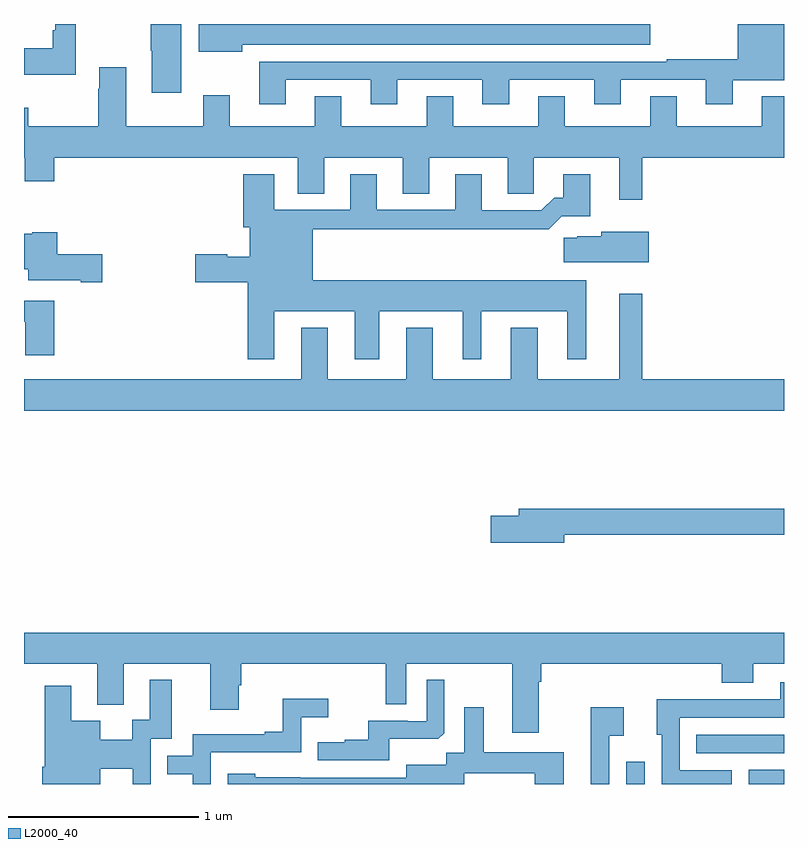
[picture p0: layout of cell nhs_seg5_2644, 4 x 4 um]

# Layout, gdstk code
import gdstk
lib = gdstk.Library(unit=1e-6, precision=1e-09)
def R(c, l, rs):  # rectangles x0, y0, x1, y1
    for r in rs: c.add(gdstk.rectangle(r[:2], r[2:], *l))
def P(c, l, *ps):  # polygons
    for p in ps: c.add(gdstk.Polygon(p, *l))
L2000_40 = (2000, 40)

nhs_seg5_2644 = lib.new_cell('nhs_seg5_2644')
R(nhs_seg5_2644, L2000_40, [(268.17,850.799,268.266,850.915), (268.814,850.799,269,850.873), (268.537,850.962,269,851.058)])
P(nhs_seg5_2644, L2000_40, [(265.273,854.799),(265.164,854.799),(265.164,854.767),(265.152,854.767),(265.152,854.671),(265,854.671),(265,854.531),(265.273,854.531)],
  [(266.149,854.69),(268.297,854.69),(268.297,854.799),(265.92,854.799),(265.92,854.654),(266.149,854.654)],
  [(265.828,854.799),(265.666,854.799),(265.666,854.659),(265.673,854.659),(265.673,854.436),(265.828,854.436)],
  [(266.377,854.505),(266.825,854.505),(266.825,854.376),(266.965,854.376),(266.965,854.505),(267.413,854.505),(267.413,854.376),(267.553,854.376),(267.553,854.505),(268.001,854.505),(268.001,854.376),(268.141,854.376),(268.141,854.505),(268.589,854.505),(268.589,854.376),(268.729,854.376),(268.729,854.504),(269,854.504),(269,854.799),(268.757,854.799),(268.757,854.614),(268.384,854.614),(268.384,854.601),(266.237,854.601),(266.237,854.376),(266.377,854.376)],
  [(266.531,854.26),(266.083,854.26),(266.083,854.425),(265.943,854.425),(265.943,854.26),(265.537,854.26),(265.537,854.572),(265.397,854.572),(265.397,854.459),(265.39,854.459),(265.39,854.26),(265.023,854.26),(265.023,854.359),(265,854.359),(265,854.096),(265.003,854.096),(265.003,853.972),(265.16,853.972),(265.16,854.096),(266.441,854.096),(266.441,853.906),(266.581,853.906),(266.581,854.096),(266.993,854.096),(266.993,853.906),(267.133,853.906),(267.133,854.096),(267.545,854.096),(267.545,853.906),(267.684,853.906),(267.684,854.096),(268.133,854.096),(268.133,853.875),(268.255,853.875),(268.255,854.096),(269,854.096),(269,854.419),(268.883,854.419),(268.883,854.26),(268.435,854.26),(268.435,854.42),(268.295,854.42),(268.295,854.26),(267.847,854.26),(267.847,854.42),(267.707,854.42),(267.707,854.26),(267.259,854.26),(267.259,854.42),(267.119,854.42),(267.119,854.26),(266.671,854.26),(266.671,854.42),(266.531,854.42)],
  [(266.317,853.286),(266.741,853.286),(266.741,853.035),(266.869,853.035),(266.869,853.286),(267.308,853.286),(267.308,853.035),(267.406,853.035),(267.406,853.286),(267.86,853.286),(267.86,853.035),(267.958,853.035),(267.958,853.45),(266.521,853.45),(266.521,853.72),(267.505,853.72),(267.505,853.718),(267.761,853.718),(267.831,853.788),(267.979,853.788),(267.979,854.008),(267.839,854.008),(267.839,853.885),(267.79,853.885),(267.723,853.818),(267.409,853.818),(267.409,854.008),(267.269,854.008),(267.269,853.821),(266.857,853.821),(266.857,854.008),(266.717,854.008),(266.717,853.821),(266.317,853.821),(266.317,854.008),(266.153,854.008),(266.153,853.728),(266.189,853.728),(266.189,853.573),(266.069,853.573),(266.069,853.586),(265.902,853.586),(265.902,853.439),(266.177,853.439),(266.177,853.035),(266.317,853.035)],
  [(268.288,853.705),(268.038,853.705),(268.038,853.681),(267.912,853.681),(267.912,853.673),(267.84,853.673),(267.84,853.544),(268.288,853.544)],
  [(265.411,853.586),(265.175,853.586),(265.175,853.702),(265.044,853.702),(265.044,853.696),(265,853.696),(265,853.508),(265.022,853.508),(265.022,853.451),(265.298,853.451),(265.298,853.439),(265.411,853.439)],
  [(269,852.928),(268.255,852.928),(268.255,853.378),(268.133,853.378),(268.133,852.928),(267.703,852.928),(267.703,853.201),(267.563,853.201),(267.563,852.928),(267.151,852.928),(267.151,853.201),(267.011,853.201),(267.011,852.928),(266.599,852.928),(266.599,853.201),(266.459,853.201),(266.459,852.928),(265,852.928),(265,852.764),(269,852.764)],
  [(265.16,853.342),(265,853.342),(265,853.233),(265.007,853.233),(265.007,853.056),(265.16,853.056)],
  [(267.844,852.112),(269,852.112),(269,852.248),(267.605,852.248),(267.605,852.212),(267.456,852.212),(267.456,852.07),(267.844,852.07)],
  [(267.709,851.336),(267.722,851.336),(267.722,851.432),(268.673,851.432),(268.673,851.333),(268.837,851.333),(268.837,851.432),(269,851.432),(269,851.596),(265,851.596),(265,851.432),(265.385,851.432),(265.385,851.216),(265.525,851.216),(265.525,851.432),(265.979,851.432),(265.979,851.19),(266.131,851.19),(266.131,851.319),(266.144,851.319),(266.144,851.432),(266.904,851.432),(266.904,851.218),(267.012,851.218),(267.012,851.432),(267.569,851.432),(267.569,851.07),(267.709,851.07)],
  [(266.923,851.036),(267.181,851.036),(267.213,851.067),(267.213,851.347),(267.12,851.347),(267.12,851.13),(267.02,851.13),(267.02,851.133),(266.813,851.133),(266.813,851.032),(266.689,851.032),(266.689,851.02),(266.545,851.02),(266.545,850.923),(266.923,850.923)],
  [(265.402,850.88),(265.572,850.88),(265.572,850.799),(265.668,850.799),(265.668,851.037),(265.777,851.037),(265.777,851.347),(265.661,851.347),(265.661,851.138),(265.571,851.138),(265.571,851.032),(265.402,851.032),(265.402,851.131),(265.249,851.131),(265.249,851.317),(265.109,851.317),(265.109,850.891),(265.097,850.891),(265.097,850.799),(265.402,850.799)],
  [(268.725,850.872),(268.452,850.872),(268.452,851.148),(269,851.148),(269,851.335),(268.979,851.335),(268.979,851.244),(268.549,851.244),(268.549,851.246),(268.331,851.246),(268.331,851.058),(268.356,851.058),(268.356,850.799),(268.725,850.799)],
  [(265.983,850.965),(266.46,850.965),(266.46,851.15),(266.602,851.15),(266.602,851.249),(266.362,851.249),(266.362,851.074),(266.267,851.074),(266.267,851.061),(265.887,851.061),(265.887,850.947),(265.753,850.947),(265.753,850.851),(265.887,850.851),(265.887,850.799),(265.983,850.799)],
  [(268.08,851.054),(268.156,851.054),(268.156,851.203),(267.983,851.203),(267.983,850.799),(268.08,850.799)],
  [(267.318,850.856),(267.689,850.856),(267.689,850.799),(267.841,850.799),(267.841,850.966),(267.421,850.966),(267.421,851.203),(267.317,851.203),(267.317,850.964),(267.222,850.964),(267.222,850.9),(267.011,850.9),(267.011,850.833),(266.453,850.833),(266.453,850.834),(266.217,850.834),(266.217,850.852),(266.073,850.852),(266.073,850.799),(267.318,850.799)])

lib.write_gds('nhs_seg5_2644.gds')
